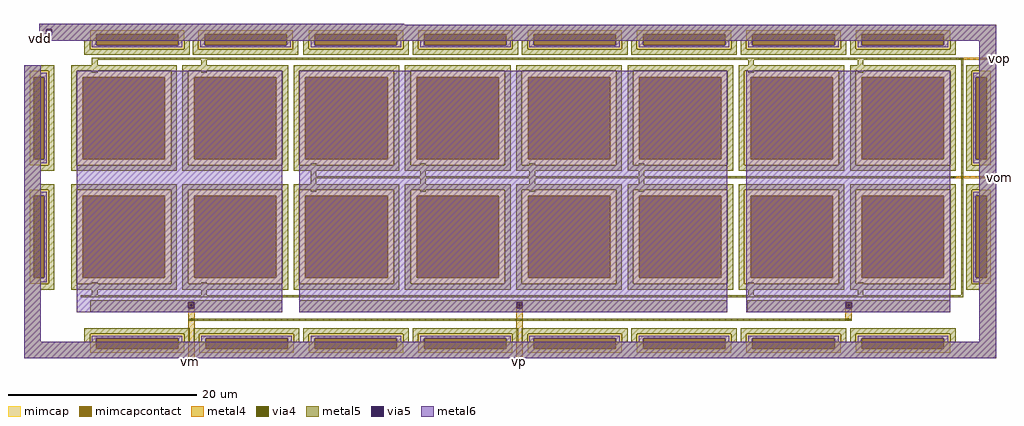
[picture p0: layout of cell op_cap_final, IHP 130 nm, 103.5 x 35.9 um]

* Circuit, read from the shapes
.subckt op_cap_final vdd vop vom vm vp
XC1 vdd vdd cap_cmim w=2u l=10u m=4
XC2 vm vop cap_cmim w=10u l=10u m=8
XC3 vdd vdd cap_cmim w=10u l=2u m=16
XC4 vp vom cap_cmim w=10u l=10u m=8
.ends

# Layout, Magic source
magic
tech ihp-sg13g2
<< metal4 >>
rect 9270 1200 9290 1220
rect 9310 1200 9710 1220
rect 9190 -60 9210 -40
rect 9230 -60 9710 -40
rect 1100 -1395 1170 -1370
rect 1100 -1415 1125 -1395
rect 1145 -1415 1170 -1395
rect 1100 -1550 1170 -1415
rect 1100 -1570 1130 -1550
rect 1150 -1570 1170 -1550
rect 1100 -2010 1170 -1570
rect 4580 -1395 4650 -1370
rect 4580 -1415 4605 -1395
rect 4625 -1415 4650 -1395
rect 4580 -2010 4650 -1415
rect 8070 -1395 8140 -1370
rect 8070 -1415 8095 -1395
rect 8115 -1415 8140 -1395
rect 8070 -1550 8140 -1415
rect 8070 -1570 8090 -1550
rect 8110 -1570 8140 -1550
<< via4 >>
rect 9290 1200 9310 1220
rect 9210 -60 9230 -40
rect 1125 -1415 1145 -1395
rect 1130 -1570 1150 -1550
rect 4605 -1415 4625 -1395
rect 8095 -1415 8115 -1395
rect 8090 -1570 8110 -1550
<< metal5 >>
rect -480 1570 3390 1580
rect -480 1521 9670 1570
rect -480 1459 -406 1521
rect -344 1459 9670 1521
rect -480 1400 9670 1459
rect 80 1200 9290 1220
rect 9310 1200 9320 1220
rect -640 -1790 -460 1140
rect 80 1060 140 1200
rect 1240 1060 1300 1200
rect 7040 1060 7100 1200
rect 8200 1060 8260 1200
rect 2400 -40 2460 100
rect 3560 -40 3620 100
rect 4720 -40 4780 100
rect 5880 -40 5940 100
rect 2400 -60 9210 -40
rect 9230 -60 9240 -40
rect 2400 -200 2460 -60
rect 3560 -200 3620 -60
rect 4720 -200 4780 -60
rect 5880 -200 5940 -60
rect 80 -1300 140 -1160
rect 1240 -1300 1300 -1160
rect 7040 -1300 7100 -1160
rect 8200 -1300 8260 -1160
rect 9300 -1300 9320 1200
rect -40 -1320 9320 -1300
rect 60 -1374 2100 -1350
rect 60 -1436 1104 -1374
rect 1166 -1436 2100 -1374
rect 60 -1480 2100 -1436
rect 2280 -1374 6820 -1350
rect 2280 -1436 4584 -1374
rect 4646 -1436 6820 -1374
rect 2280 -1480 6820 -1436
rect 7030 -1374 9180 -1350
rect 7030 -1436 8074 -1374
rect 8136 -1436 9180 -1374
rect 7030 -1480 9180 -1436
rect 1100 -1570 1130 -1550
rect 1150 -1570 8090 -1550
rect 8110 -1570 8140 -1550
rect 9490 -1790 9670 1400
rect -640 -1970 9670 -1790
<< via5 >>
rect -406 1459 -344 1521
rect 1104 -1395 1166 -1374
rect 1104 -1415 1125 -1395
rect 1125 -1415 1145 -1395
rect 1145 -1415 1166 -1395
rect 1104 -1436 1166 -1415
rect 4584 -1395 4646 -1374
rect 4584 -1415 4605 -1395
rect 4605 -1415 4625 -1395
rect 4625 -1415 4646 -1395
rect 4584 -1436 4646 -1415
rect 8074 -1395 8136 -1374
rect 8074 -1415 8095 -1395
rect 8095 -1415 8115 -1395
rect 8115 -1415 8136 -1395
rect 8074 -1436 8136 -1415
<< metal6 >>
rect -480 1570 3390 1580
rect -480 1521 9670 1570
rect -480 1459 -406 1521
rect -344 1459 9670 1521
rect -480 1400 9670 1459
rect -640 -1790 -460 1140
rect -80 -1374 2100 1080
rect -80 -1436 1104 -1374
rect 1166 -1436 2100 -1374
rect -80 -1480 2100 -1436
rect 2280 -1374 6820 1080
rect 2280 -1436 4584 -1374
rect 4646 -1436 6820 -1374
rect 2280 -1480 6820 -1436
rect 7020 -1374 9180 1080
rect 7020 -1436 8074 -1374
rect 8136 -1436 9180 -1374
rect 7020 -1480 9180 -1436
rect 9490 -1790 9670 1400
rect -640 -1970 9670 -1790
use cap_cmim_MV9CWZ  cap_cmim_MV9CWZ_0
transform 1 0 560 0 1 1410
box -560 -160 560 160
use cap_cmim_MV9CWZ  cap_cmim_MV9CWZ_1
transform 1 0 1710 0 1 1410
box -560 -160 560 160
use cap_cmim_MV9CWZ  cap_cmim_MV9CWZ_2
transform 1 0 2880 0 1 1410
box -560 -160 560 160
use cap_cmim_MV9CWZ  cap_cmim_MV9CWZ_3
transform 1 0 2880 0 1 -1810
box -560 -160 560 160
use cap_cmim_MV9CWZ  cap_cmim_MV9CWZ_4
transform 1 0 1720 0 1 -1810
box -560 -160 560 160
use cap_cmim_MV9CWZ  cap_cmim_MV9CWZ_5
transform 1 0 560 0 1 -1810
box -560 -160 560 160
use cap_cmim_MV9CWZ  cap_cmim_MV9CWZ_6
transform 0 1 9510 -1 0 580
box -560 -160 560 160
use cap_cmim_MV9CWZ  cap_cmim_MV9CWZ_7
transform 0 1 9510 -1 0 -680
box -560 -160 560 160
use cap_cmim_MV9CWZ  cap_cmim_MV9CWZ_8
transform 0 1 -480 -1 0 -680
box -560 -160 560 160
use cap_cmim_MV9CWZ  cap_cmim_MV9CWZ_9
transform 0 1 -480 -1 0 580
box -560 -160 560 160
use cap_cmim_MV9CWZ  cap_cmim_MV9CWZ_10
transform 1 0 4040 0 1 1410
box -560 -160 560 160
use cap_cmim_MV9CWZ  cap_cmim_MV9CWZ_11
transform 1 0 5200 0 1 1410
box -560 -160 560 160
use cap_cmim_MV9CWZ  cap_cmim_MV9CWZ_12
transform 1 0 6360 0 1 1410
box -560 -160 560 160
use cap_cmim_MV9CWZ  cap_cmim_MV9CWZ_13
transform 1 0 7520 0 1 1410
box -560 -160 560 160
use cap_cmim_MV9CWZ  cap_cmim_MV9CWZ_14
transform 1 0 8680 0 1 1410
box -560 -160 560 160
use cap_cmim_MV9CWZ  cap_cmim_MV9CWZ_15
transform 1 0 4040 0 1 -1810
box -560 -160 560 160
use cap_cmim_MV9CWZ  cap_cmim_MV9CWZ_16
transform 1 0 5200 0 1 -1810
box -560 -160 560 160
use cap_cmim_MV9CWZ  cap_cmim_MV9CWZ_17
transform 1 0 6360 0 1 -1810
box -560 -160 560 160
use cap_cmim_MV9CWZ  cap_cmim_MV9CWZ_18
transform 1 0 7520 0 1 -1810
box -560 -160 560 160
use cap_cmim_MV9CWZ  cap_cmim_MV9CWZ_19
transform 1 0 8680 0 1 -1810
box -560 -160 560 160
use cap_cmim_RCJHDK  cap_cmim_RCJHDK_0
transform 1 0 420 0 1 580
box -560 -560 560 560
use cap_cmim_RCJHDK  cap_cmim_RCJHDK_1
transform 1 0 1600 0 1 580
box -560 -560 560 560
use cap_cmim_RCJHDK  cap_cmim_RCJHDK_2
transform 1 0 2780 0 1 580
box -560 -560 560 560
use cap_cmim_RCJHDK  cap_cmim_RCJHDK_3
transform 1 0 420 0 1 -680
box -560 -560 560 560
use cap_cmim_RCJHDK  cap_cmim_RCJHDK_4
transform 1 0 1600 0 1 -680
box -560 -560 560 560
use cap_cmim_RCJHDK  cap_cmim_RCJHDK_5
transform 1 0 2780 0 1 -680
box -560 -560 560 560
use cap_cmim_RCJHDK  cap_cmim_RCJHDK_6
transform 1 0 3960 0 1 580
box -560 -560 560 560
use cap_cmim_RCJHDK  cap_cmim_RCJHDK_7
transform 1 0 5140 0 1 580
box -560 -560 560 560
use cap_cmim_RCJHDK  cap_cmim_RCJHDK_8
transform 1 0 6320 0 1 580
box -560 -560 560 560
use cap_cmim_RCJHDK  cap_cmim_RCJHDK_9
transform 1 0 7500 0 1 580
box -560 -560 560 560
use cap_cmim_RCJHDK  cap_cmim_RCJHDK_10
transform 1 0 8680 0 1 580
box -560 -560 560 560
use cap_cmim_RCJHDK  cap_cmim_RCJHDK_11
transform 1 0 3960 0 1 -680
box -560 -560 560 560
use cap_cmim_RCJHDK  cap_cmim_RCJHDK_12
transform 1 0 5140 0 1 -680
box -560 -560 560 560
use cap_cmim_RCJHDK  cap_cmim_RCJHDK_13
transform 1 0 6320 0 1 -680
box -560 -560 560 560
use cap_cmim_RCJHDK  cap_cmim_RCJHDK_14
transform 1 0 7500 0 1 -680
box -560 -560 560 560
use cap_cmim_RCJHDK  cap_cmim_RCJHDK_15
transform 1 0 8680 0 1 -680
box -560 -560 560 560
<< labels >>
rlabel metal6 s -480 1400 -440 1440 4 vdd
port 1 nsew
rlabel metal4 s 9690 1200 9710 1220 4 vop
port 2 nsew
rlabel metal4 s 9690 -60 9710 -40 4 vom
port 3 nsew
rlabel metal4 s 1120 -2010 1140 -1990 4 vm
port 4 nsew
rlabel metal4 s 4600 -2010 4620 -1990 4 vp
port 5 nsew
<< end >>

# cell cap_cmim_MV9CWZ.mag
magic
tech ihp-sg13g2
<< metal5 >>
rect -560 100 560 160
rect -560 -100 -500 100
rect 500 -100 560 100
rect -560 -160 560 -100
<< mimcap >>
rect -500 57 500 100
rect -500 -57 -435 57
rect 435 -57 500 57
rect -500 -100 500 -57
<< mimcapcontact >>
rect -435 -57 435 57
<< metal6 >>
rect -480 57 480 82
rect -480 -57 -435 57
rect 435 -57 480 57
rect -480 -82 480 -57
<< labels >>
rlabel metal6 s 0 0 0 0 4 C1
rlabel metal5 s 510 0 510 0 4 C2
<< properties >>
string FIXED_BBOX -560 -160 560 160
<< end >>

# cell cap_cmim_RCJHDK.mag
magic
tech ihp-sg13g2
<< metal5 >>
rect -560 500 560 560
rect -560 -500 -500 500
rect 500 -500 560 500
rect -560 -560 560 -500
<< mimcap >>
rect -500 435 500 500
rect -500 -435 -435 435
rect 435 -435 500 435
rect -500 -500 500 -435
<< mimcapcontact >>
rect -435 -435 435 435
<< metal6 >>
rect -480 435 480 480
rect -480 -435 -435 435
rect 435 -435 480 435
rect -480 -480 480 -435
<< labels >>
rlabel metal6 s 0 0 0 0 4 C1
rlabel metal5 s 510 0 510 0 4 C2
<< properties >>
string FIXED_BBOX -560 -560 560 560
<< end >>
